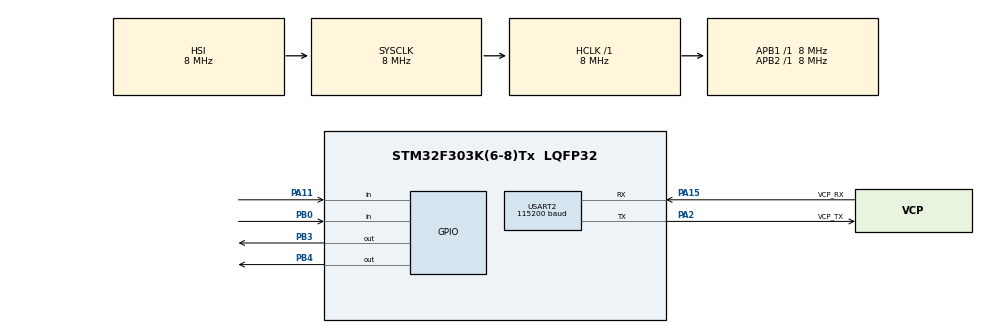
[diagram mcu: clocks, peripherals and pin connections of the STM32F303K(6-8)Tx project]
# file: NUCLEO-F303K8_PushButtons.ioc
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Mcu.Family=STM32F3
Mcu.Name=STM32F303K(6-8)Tx
Mcu.Package=LQFP32
NVIC.PriorityGroup=NVIC_PRIORITYGROUP_4
PA11.GPIO_PuPd=GPIO_PULLUP
PA11.Signal=GPIO_Input
PA13.GPIO_Label=SWDIO
PA13.Mode=Serial_Wire
PA13.Signal=SYS_JTMS-SWDIO
PA14.GPIO_Label=SWCLK
PA14.Mode=Serial_Wire
PA14.Signal=SYS_JTCK-SWCLK
PA15.GPIO_Label=VCP_RX
PA15.Mode=Asynchronous
PA15.Signal=USART2_RX
PA2.GPIO_Label=VCP_TX
PA2.Mode=Asynchronous
PA2.Signal=USART2_TX
PB0.GPIO_PuPd=GPIO_PULLUP
PB0.Signal=GPIO_Input
PB3.Signal=GPIO_Output
PB4.Signal=GPIO_Output
PF0\ /\ OSC_IN.GPIO_Label=MCO
PF0\ /\ OSC_IN.Mode=HSE-External-Clock-Source
PF0\ /\ OSC_IN.Signal=RCC_OSC_IN
ProjectManager.HeapSize=0x200
ProjectManager.StackSize=0x400
ProjectManager.TargetToolchain=STM32CubeIDE
RCC.AHBFreq_Value=8000000
RCC.APB1Freq_Value=8000000
RCC.APB2Freq_Value=8000000
RCC.CortexFreq_Value=8000000
RCC.HSE_VALUE=8000000
RCC.HSI_VALUE=8000000
RCC.SYSCLKFreq_VALUE=8000000
USART2.BaudRate=115200
USART2.VirtualMode-Asynchronous=VM_ASYNC
board=NUCLEO-F303K8

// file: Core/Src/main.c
/* USER CODE BEGIN Header */
/**
 ******************************************************************************
 * @file           : main.c
 * @brief          : Main program body
 ******************************************************************************
 * @attention
 *
 * <h2><center>&copy; Copyright (c) 2021 STMicroelectronics.
 * All rights reserved.</center></h2>
 *
 * This software component is licensed by ST under BSD 3-Clause license,
 * the "License"; You may not use this file except in compliance with the
 * License. You may obtain a copy of the License at:
 *                        opensource.org/licenses/BSD-3-Clause
 *
 ******************************************************************************
 */
/* USER CODE END Header */
#include "main.h"

/* USER CODE BEGIN Includes */
#include "PushButtons.h"
#include <stdio.h>

/* USER CODE END Includes */

UART_HandleTypeDef huart2;

void SystemClock_Config(void);
static void MX_GPIO_Init(void);
static void MX_USART2_UART_Init(void);

int main(void) {
	/* USER CODE BEGIN 1 */

	setbuf(stdout, NULL);

	/* USER CODE END 1 */

	/* MCU Configuration--------------------------------------------------------*/

	/* Reset of all peripherals, Initializes the Flash interface and the Systick. */
	HAL_Init();

	/* Configure the system clock */
	SystemClock_Config();

	/* Initialize all configured peripherals */
	MX_GPIO_Init();
	MX_USART2_UART_Init();
	/* USER CODE BEGIN 2 */

	printf("Booted Nucleo F303K8.\r\n");
	printf("Push PB0 and/or PA11.\r\n\r\n");

	Button_Init(GPIOA, GPIO_PIN_11); // bit 0
	Button_Init(GPIOB, GPIO_PIN_0);  // bit 1

	/* USER CODE END 2 */

	/* Infinite loop */
	while (1) {
		/* USER CODE BEGIN 3 */
		uint32_t k = Button_Loop();
		if (k) {
			Button_Clear();
			printf("HAL_GetTick=%lu keycode = %lu [", HAL_GetTick(), k);
			if (k & 2) {
				printf("B0 ");
			} else {
				printf("   ");
			}
			if (k & 1) {
				printf("A11");
			} else {
				printf("   ");
			}
			printf("]\r\n");
			for (int i=0; i<k; i++) {
				HAL_GPIO_WritePin(GPIOB, GPIO_PIN_3, 1);
				HAL_Delay(100);
				HAL_GPIO_WritePin(GPIOB, GPIO_PIN_3, 0);
				HAL_Delay(100);
			}
		}
	}
	/* USER CODE END 3 */
}

void SystemClock_Config(void) {
	RCC_OscInitTypeDef RCC_OscInitStruct = { 0 };
	RCC_ClkInitTypeDef RCC_ClkInitStruct = { 0 };

	/** Initializes the RCC Oscillators according to the specified parameters
	 * in the RCC_OscInitTypeDef structure.
	 */
	RCC_OscInitStruct.OscillatorType = RCC_OSCILLATORTYPE_HSI;
	RCC_OscInitStruct.HSIState = RCC_HSI_ON;
	RCC_OscInitStruct.HSICalibrationValue = RCC_HSICALIBRATION_DEFAULT;
	RCC_OscInitStruct.PLL.PLLState = RCC_PLL_NONE;
	if (HAL_RCC_OscConfig(&RCC_OscInitStruct) != HAL_OK) {
		Error_Handler();
	}
	/** Initializes the CPU, AHB and APB buses clocks
	 */
	RCC_ClkInitStruct.ClockType = RCC_CLOCKTYPE_HCLK | RCC_CLOCKTYPE_SYSCLK
			| RCC_CLOCKTYPE_PCLK1 | RCC_CLOCKTYPE_PCLK2;
	RCC_ClkInitStruct.SYSCLKSource = RCC_SYSCLKSOURCE_HSI;
	RCC_ClkInitStruct.AHBCLKDivider = RCC_SYSCLK_DIV1;
	RCC_ClkInitStruct.APB1CLKDivider = RCC_HCLK_DIV1;
	RCC_ClkInitStruct.APB2CLKDivider = RCC_HCLK_DIV1;

	if (HAL_RCC_ClockConfig(&RCC_ClkInitStruct, FLASH_LATENCY_0) != HAL_OK) {
		Error_Handler();
	}
}

static void MX_USART2_UART_Init(void) {

	huart2.Instance = USART2;
	huart2.Init.BaudRate = 115200;
	huart2.Init.WordLength = UART_WORDLENGTH_8B;
	huart2.Init.StopBits = UART_STOPBITS_1;
	huart2.Init.Parity = UART_PARITY_NONE;
	huart2.Init.Mode = UART_MODE_TX_RX;
	huart2.Init.HwFlowCtl = UART_HWCONTROL_NONE;
	huart2.Init.OverSampling = UART_OVERSAMPLING_16;
	huart2.Init.OneBitSampling = UART_ONE_BIT_SAMPLE_DISABLE;
	huart2.AdvancedInit.AdvFeatureInit = UART_ADVFEATURE_NO_INIT;
	if (HAL_UART_Init(&huart2) != HAL_OK) {
		Error_Handler();
	}

}

static void MX_GPIO_Init(void) {
	GPIO_InitTypeDef GPIO_InitStruct = { 0 };

	/* GPIO Ports Clock Enable */
	__HAL_RCC_GPIOF_CLK_ENABLE();
	__HAL_RCC_GPIOA_CLK_ENABLE();
	__HAL_RCC_GPIOB_CLK_ENABLE();

	/*Configure GPIO pin Output Level */
	HAL_GPIO_WritePin(GPIOB, GPIO_PIN_3 | GPIO_PIN_4, GPIO_PIN_RESET);

	/*Configure GPIO pin : PB0 */
	GPIO_InitStruct.Pin = GPIO_PIN_0;
	GPIO_InitStruct.Mode = GPIO_MODE_INPUT;
	GPIO_InitStruct.Pull = GPIO_PULLUP;
	HAL_GPIO_Init(GPIOB, &GPIO_InitStruct);

	/*Configure GPIO pin : PA11 */
	GPIO_InitStruct.Pin = GPIO_PIN_11;
	GPIO_InitStruct.Mode = GPIO_MODE_INPUT;
	GPIO_InitStruct.Pull = GPIO_PULLUP;
	HAL_GPIO_Init(GPIOA, &GPIO_InitStruct);

	/*Configure GPIO pins : PB3 PB4 */
	GPIO_InitStruct.Pin = GPIO_PIN_3 | GPIO_PIN_4;
	GPIO_InitStruct.Mode = GPIO_MODE_OUTPUT_PP;
	GPIO_InitStruct.Pull = GPIO_NOPULL;
	GPIO_InitStruct.Speed = GPIO_SPEED_FREQ_LOW;
	HAL_GPIO_Init(GPIOB, &GPIO_InitStruct);

}

/* USER CODE BEGIN 4 */

int _write(int file, char *ptr, int len) {
	HAL_UART_Transmit(&huart2, (uint8_t*) ptr, len, 10);
	return len;
}

/* USER CODE END 4 */

void Error_Handler(void) {
	__disable_irq();
	while (1) {
	}
}

/************************ (C) COPYRIGHT STMicroelectronics *****END OF FILE****/
